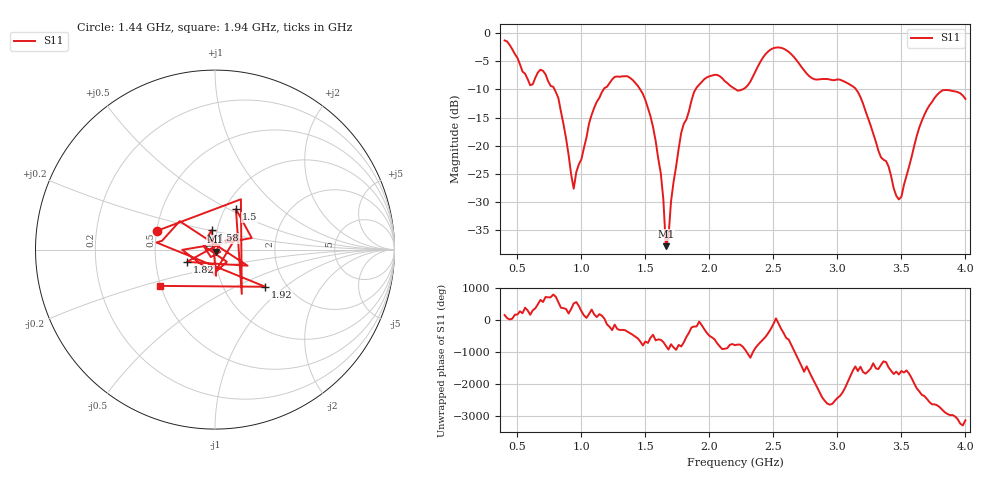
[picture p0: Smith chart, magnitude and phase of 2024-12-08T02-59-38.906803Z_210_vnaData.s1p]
!Created with skrf (http://scikit-rf.org).
# Hz S RI R 50.0
!freq ReS11 ImS11
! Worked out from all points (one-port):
!   181 points, 400 MHz to 4 GHz, reference 50 ohm
!   lowest |S11| = -37.8 dB at 1.66 GHz (marker M1), VSWR 1.03, Z = 50.3 - j1.24 ohm
!   |S11| at or under -10 dB: 790.1 MHz to 1.173 GHz (383.2 MHz wide, 39 % of centre); 1.459 GHz to 1.892 GHz (432.5 MHz wide, 25.8 % of centre); 3.146 GHz to end of sweep (the widest 3 of 4)
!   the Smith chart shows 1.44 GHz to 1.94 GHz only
!   S11 on the Smith chart (normalised r, x): 1.44 GHz: 0.50, +0.12; 1.5 GHz: 1.12, +0.54; 1.58 GHz: 0.94, +0.21; 1.82 GHz: 0.72, -0.10; 1.92 GHz: 1.57, -0.74; 1.94 GHz: 0.49, -0.23
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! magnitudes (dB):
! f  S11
! 400 MHz  -1.3
! 600 MHz  -9.2
! 720 MHz  -7.3
! 820 MHz  -11.5
! 860 MHz  -16.2
! 940 MHz  -27.6
! 1.1 GHz  -13.3
! 1.3 GHz  -7.8
! 1.44 GHz  -9.3
! 1.5 GHz  -11.9
! 1.58 GHz  -19.1
! 1.64 GHz  -29.5
! 1.66 GHz  -37.8
! 1.76 GHz  -20.5
! 1.82 GHz  -15.4
! 1.92 GHz  -9.2
! 1.94 GHz  -8.7
! 2.2 GHz  -9.9
! 2.48 GHz  -2.9
! 2.66 GHz  -4.2
! 2.8 GHz  -8.0
! 3.1 GHz  -9.2
! 3.18 GHz  -11.3
! 3.48 GHz  -29.5
! 3.56 GHz  -23.7
! 3.64 GHz  -16.7
! 3.76 GHz  -11.5
! 4 GHz  -11.7
